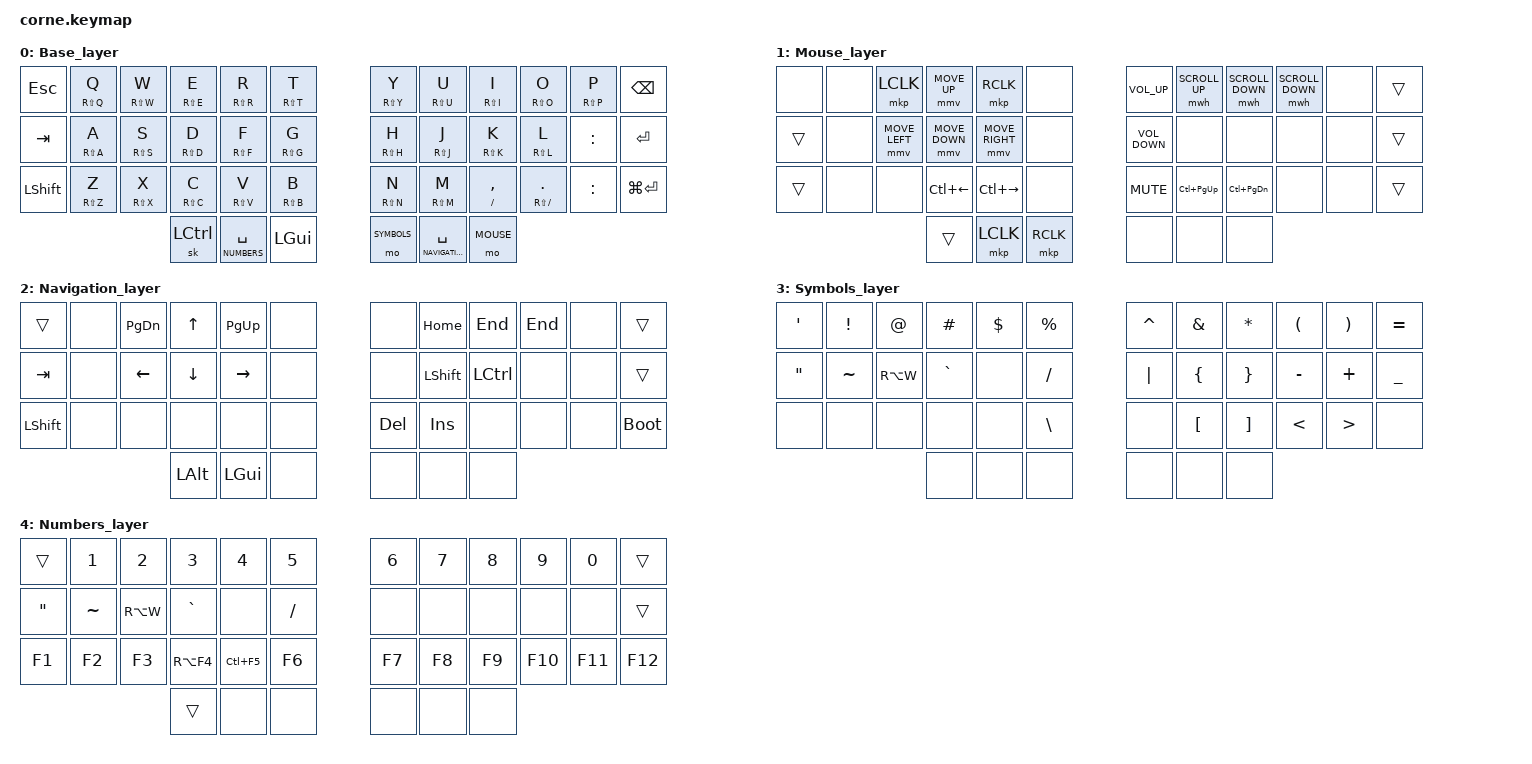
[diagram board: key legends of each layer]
#include <behaviors.dtsi>
#include <dt-bindings/zmk/keys.h>
#include <dt-bindings/zmk/bt.h>
#include <dt-bindings/zmk/mouse.h>


#define BASE 0
#define NAVIGATION 2
#define MOUSE 1
#define SYMBOLS 3
#define NUMBERS 4
 
&mmv {
    time-to-max-speed-ms = <400>;
};

&mwh {
    acceleration-exponent=<1>;
};

&mt {
    tapping-term-ms = <600>;
    flavor = "tap-preferred";
};

/ {

  keymap {
    compatible = "zmk,keymap";

    Base_layer {
      bindings = <
        &kp ESCAPE        &mt RS(Q) Q  &mt RS(W) W    &mt RS(E) E    &mt RS(R) R     &mt RS(T) T               &mt RS(Y) Y     &mt RS(U) U      &mt RS(I) I          &mt RS(O) O           &mt RS(P) P   &kp BACKSPACE 
        &kp TAB           &mt RS(A) A  &mt RS(S) S    &mt RS(D) D    &mt RS(F) F     &mt RS(G) G               &mt RS(H) H     &mt RS(J) J      &mt RS(K) K          &mt RS(L) L           &kp COLON     &kp RETURN 
        &kp LEFT_SHIFT    &mt RS(Z) Z  &mt RS(X) X    &mt RS(C) C    &mt RS(V) V     &mt RS(B) B               &mt RS(N) N     &mt RS(M) M      &mt SLASH COMMA      &mt RS(SLASH) PERIOD  &kp COLON     &kp LG(RETURN) 
        &sk LEFT_CONTROL  &lt NUMBERS SPACE    &kp LEFT_GUI                                                    &mo SYMBOLS     &lt NAVIGATION SPACE    &mo MOUSE 
      >;
    };

    Mouse_layer {
      bindings = <
        &none     &none      &mkp LCLK       &mmv MOVE_UP     &mkp RCLK         &none                     &kp K_VOLUME_UP   &mwh SCROLL_UP  &mwh SCROLL_DOWN  &mwh SCROLL_DOWN &none     &trans 
        &trans    &none      &mmv MOVE_LEFT  &mmv MOVE_DOWN   &mmv MOVE_RIGHT   &none                     &kp K_VOLUME_DOWN &none           &none             &none            &none     &trans
        &trans    &none      &none           &kp LC(LEFT)     &kp LC(RIGHT)     &none                     &kp K_MUTE        &kp LC(PAGE_UP) &kp LC(PAGE_DOWN) &none            &none     &trans 
        &trans    &mkp LCLK  &mkp RCLK                                                                    &none             &none           &none 
      >;
    };


    Navigation_layer {
      bindings = <
        &trans           &none         &kp PAGE_DOWN &kp UP      &kp PAGE_UP   &none                     &none      &kp HOME        &kp END          &kp END   &none     &trans
        &kp TAB          &none         &kp LEFT      &kp DOWN    &kp RIGHT     &none                     &none      &kp LEFT_SHIFT  &kp LEFT_CONTROL &none     &none     &trans 
        &kp LEFT_SHIFT   &none         &none         &none       &none         &none                     &kp DEL    &kp INSERT      &none            &none     &none     &bootloader 
        &kp LEFT_ALT &kp LEFT_GUI  &none                                                             &none      &none           &none 
      >;
    };


    Symbols_layer {
      bindings = <
        &kp SINGLE_QUOTE    &kp EXCLAMATION   &kp AT_SIGN   &kp HASH    &kp DOLLAR    &kp PERCENT                         &kp CARET      &kp AMPERSAND      &kp ASTERISK        &kp LEFT_PARENTHESIS   &kp RIGHT_PARENTHESIS   &kp EQUAL
        &kp DOUBLE_QUOTES   &kp TILDE         &kp RA(W)     &kp GRAVE   &none         &kp SLASH                           &kp PIPE       &kp LEFT_BRACE     &kp RIGHT_BRACE     &kp MINUS              &kp PLUS                &kp UNDERSCORE   
        &none               &none             &none         &none       &none         &kp BACKSLASH                       &none          &kp LEFT_BRACKET   &kp RIGHT_BRACKET   &kp LT                 &kp GT                  &none 
        &none               &none             &none                                                                       &none          &none              &none 
      >;
    };
    
    Numbers_layer {
      bindings = <
        &trans            &kp NUMBER_1   &kp NUMBER_2  &kp NUMBER_3  &kp NUMBER_4  &kp NUMBER_5              &kp NUMBER_6  &kp NUMBER_7   &kp NUMBER_8   &kp NUMBER_9   &kp NUMBER_0   &trans 
        &kp DOUBLE_QUOTES &kp TILDE      &kp RA(W)     &kp GRAVE     &none         &kp SLASH                 &none         &none          &none          &none          &none          &trans
        &kp F1            &kp F2         &kp F3        &kp RA(F4)    &kp LC(F5)    &kp F6                    &kp F7        &kp F8         &kp F9         &kp F10        &kp F11        &kp F12 
        &trans            &none          &none                                                               &none         &none          &none 
      >;
    };

  };
};
